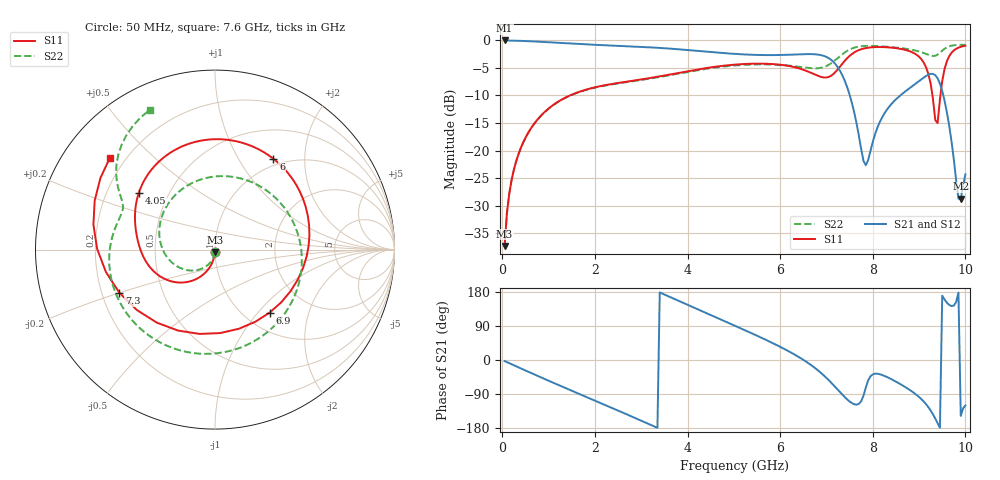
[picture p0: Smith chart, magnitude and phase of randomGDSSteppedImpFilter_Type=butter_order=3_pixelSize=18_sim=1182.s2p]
! freq	dB(S11)	phase(S11)	dB(S12)	phase(S12)
!  dB(S21)	phase(S21)	dB(S22)	phase(S22)
!S-par simulation data
#  GHz  S  DB  R 50
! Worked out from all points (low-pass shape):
!   200 points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, 50 MHz to 10 GHz, reference 50 ohm
!   highest |S21| = 0.00 dB at 50 MHz (marker M1); lowest = -28.8 dB at 9.9 GHz (marker M2)
!   |S21| within 3 dB of the highest: start of sweep to 7 GHz
!   lowest |S11| = -37.4 dB at 50 MHz (marker M3), VSWR 1.03, Z = 49.9 - j1.35 ohm
!   |S11| at or under -10 dB: start of sweep to 1.459 GHz; 9.289 GHz to 9.461 GHz (172.2 MHz wide, 1.84 % of centre)
!   |S22| runs from -37.4 to -0.8 dB; largest |S21 - S12| = 0
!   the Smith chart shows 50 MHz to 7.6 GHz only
!   S11 on the Smith chart (normalised r, x): 50 MHz: 1.00, -0.03; 4.05 GHz: 0.34, +0.30; 6 GHz: 0.90, +1.42; 6.9 GHz: 1.29, -1.16; 7.3 GHz: 0.27, -0.20; 7.6 GHz: 0.14, +0.37
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0.05  -37.36 -91.9  -0.00 -2.8  -0.00 -2.8  -37.37 -93.2
0.2  -25.38 -98.5  -0.03 -11.2  -0.03 -11.2  -25.40 -103.9
0.5  -17.69 -111.4  -0.11 -27.7  -0.11 -27.7  -17.72 -124.9
1.75  -9.08 -157.2  -0.69 -94.2  -0.69 -94.2  -9.13 147.5
2.6  -7.60 179.5  -1.01 -138.7  -1.01 -138.7  -7.67 81.9
3.4  -6.52 160.7  -1.36 178.2  -1.36 178.2  -6.63 14.8
4.05  -5.52 143.2  -1.78 142.9  -1.78 142.9  -5.65 -37.9
5.05  -4.38 106.9  -2.46 88.9  -2.46 88.9  -4.53 -108.7
6  -4.41 57.2  -2.65 34.8  -2.65 34.8  -4.45 -165.9
6.7  -6.00 -11.7  -2.49 -16.3  -2.49 -16.3  -5.05 160.6
6.9  -6.66 -49.1  -2.71 -36.0  -2.71 -36.0  -4.94 154.8
7.1  -6.42 -100.4  -3.52 -59.5  -3.52 -59.5  -4.15 149.2
7.3  -4.67 -155.6  -5.63 -85.8  -5.63 -85.8  -2.79 139.2
7.6  -2.18 138.8  -13.10 -116.7  -13.10 -116.7  -1.32 115.0
7.85  -1.39 101.1  -22.67 -72.6  -22.67 -72.6  -0.99 93.9
8.35  -1.27 50.0  -12.08 -47.5  -12.08 -47.5  -1.18 57.1
8.95  -2.62 -5.5  -7.69 -92.6  -7.69 -92.6  -1.89 19.5
9.25  -7.86 -61.9  -6.08 -133.3  -6.08 -133.3  -2.76 6.9
9.4  -15.00 170.6  -6.88 -166.7  -6.88 -166.7  -2.57 6.0
9.6  -3.79 67.8  -13.06 151.4  -13.06 151.4  -1.26 -3.2
9.9  -1.16 20.8  -28.76 -147.6  -28.76 -147.6  -0.80 -23.2
10  -0.96 11.5  -24.32 -119.9  -24.32 -119.9  -0.81 -28.9
